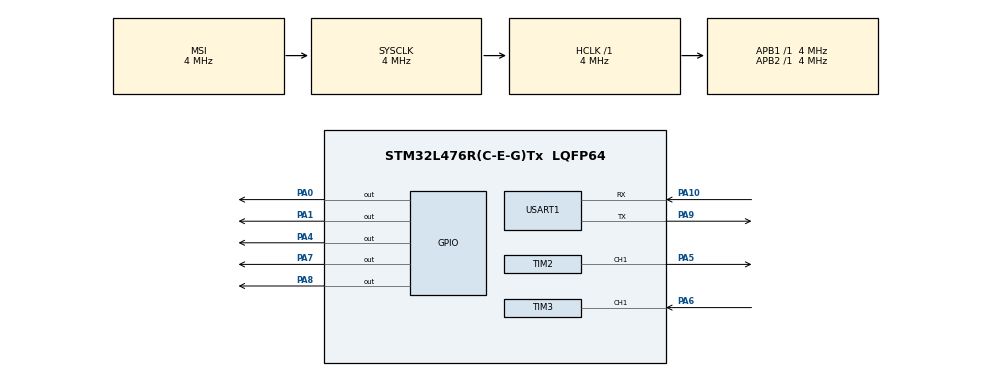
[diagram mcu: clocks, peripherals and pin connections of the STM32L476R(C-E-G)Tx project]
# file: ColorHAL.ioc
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Mcu.Family=STM32L4
Mcu.Name=STM32L476R(C-E-G)Tx
Mcu.Package=LQFP64
NVIC.PriorityGroup=NVIC_PRIORITYGROUP_4
NVIC.TIM2_IRQn=true\:0\:0\:false\:false\:true\:true\:true
PA0.Signal=GPIO_Output
PA1.Signal=GPIO_Output
PA10.Mode=Asynchronous
PA10.Signal=USART1_RX
PA4.Signal=GPIO_Output
PA5.Signal=S_TIM2_CH1
PA6.Signal=S_TIM3_CH1
PA7.Signal=GPIO_Output
PA8.Signal=GPIO_Output
PA9.Mode=Asynchronous
PA9.Signal=USART1_TX
ProjectManager.HeapSize=0x200
ProjectManager.StackSize=0x400
ProjectManager.TargetToolchain=MDK-ARM V5.27
RCC.ADCFreq_Value=64000000
RCC.AHBFreq_Value=4000000
RCC.APB1Freq_Value=4000000
RCC.APB1TimFreq_Value=4000000
RCC.APB2Freq_Value=4000000
RCC.APB2TimFreq_Value=4000000
RCC.CortexFreq_Value=4000000
RCC.HCLKFreq_Value=4000000
RCC.HSE_VALUE=8000000
RCC.HSI_VALUE=16000000
RCC.LSE_VALUE=32768
RCC.MSI_VALUE=4000000
RCC.PLLN=10
RCC.PLLSourceVirtual=RCC_PLLSOURCE_HSI
RCC.PREFETCH_ENABLE=1
RCC.SYSCLKFreq_VALUE=4000000
RCC.USBFreq_Value=64000000
RCC.VCOOutputFreq_Value=160000000
SH.S_TIM2_CH1.0=TIM2_CH1,PWM Generation1 CH1
SH.S_TIM3_CH1.0=TIM3_CH1,TriggerSource_TI1FP1
TIM2.Channel-PWM\ Generation1\ CH1=TIM_CHANNEL_1
TIM2.Period=3999
TIM2.Prescaler=9
TIM3.CounterMode=TIM_COUNTERMODE_UP
TIM3.Period=0xffff
TIM3.Prescaler=0
TIM3.Slave_TriggerPolarity=TIM_TRIGGERPOLARITY_FALLING
TIM3.TIM_MasterOutputTrigger=TIM_TRGO_UPDATE
TIM3.TIM_MasterSlaveMode=TIM_MASTERSLAVEMODE_DISABLE
USART1.VirtualMode-Asynchronous=VM_ASYNC
VP_TIM2_VS_ClockSourceINT.Mode=Internal
VP_TIM3_VS_ControllerModeClock.Mode=Clock Mode
board=NUCLEO-L476RG

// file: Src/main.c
/* USER CODE BEGIN Header */
/**
  ******************************************************************************
  * @file           : main.c
  * @brief          : Main program body
  ******************************************************************************
  * @attention
  *
  * <h2><center>&copy; Copyright (c) 2021 STMicroelectronics.
  * All rights reserved.</center></h2>
  *
  * This software component is licensed by ST under BSD 3-Clause license,
  * the "License"; You may not use this file except in compliance with the
  * License. You may obtain a copy of the License at:
  *                        opensource.org/licenses/BSD-3-Clause
  *
  ******************************************************************************
  */
/* USER CODE END Header */

#include "main.h"

TIM_HandleTypeDef htim2;
TIM_HandleTypeDef htim3;

UART_HandleTypeDef huart1;

void SystemClock_Config(void);
static void MX_GPIO_Init(void);
static void MX_TIM2_Init(void);
static void MX_TIM3_Init(void);
static void MX_USART1_UART_Init(void);

/* USER CODE BEGIN 0 */
short count; //用来判断是第几次
short RGB[3];//用来存放读取回来的数据
short R,G,B; //存放比例系数
short greenFlag = 0;//用来存放绿色识别标志位
short blueFlag = 0; //用来存放蓝色识别标志位
short redFlag = 0;  //用来存放红色识别标志位
short color = 1;    //1-green,2-blue,3-red

void Set_Speed(int speed)
{
	TIM_OC_InitTypeDef sConfigOC = {0};

	sConfigOC.OCMode = TIM_OCMODE_PWM1;
	sConfigOC.Pulse = speed;
	sConfigOC.OCPolarity = TIM_OCPOLARITY_HIGH;
	sConfigOC.OCFastMode = TIM_OCFAST_DISABLE;
	if (HAL_TIM_PWM_ConfigChannel(&htim2, &sConfigOC, TIM_CHANNEL_1) != HAL_OK)
	{
		Error_Handler();
	}
}
void Turn_Forward(void)
{
	HAL_GPIO_WritePin(GPIOA,GPIO_PIN_4, GPIO_PIN_SET);
	Set_Speed(3550); //数值区间1-3999 ，数值越大，速度越慢
	HAL_TIM_PWM_Start(&htim2,TIM_CHANNEL_1);
}
void Turn_Off(void)
{

	Set_Speed(4000);
	HAL_TIM_PWM_Start(&htim2,TIM_CHANNEL_1);
	HAL_GPIO_WritePin(GPIOA,GPIO_PIN_4, GPIO_PIN_SET);

}
/* USER CODE END 0 */

int main(void)
{
  /* USER CODE BEGIN 1 */
  char Step1[]="#0P1000#1P500#2P2010#3P1150#4P1380#5P1500S500T1000\r\n";
	char Step2[]="#0P1000#1P500#2P2010#3P1150#4P1500#5P1500S500T1000\r\n";
	char Step3[]="#0P1000#1P500#2P1590#3P1280#4P1185#5P1500S500T1000\r\n";
	char Step4[]="#0P1430#1P500#2P1590#3P1280#4P1185#5P1500S500T1000\r\n";
	char Step5[]="#0P1430#1P500#2P2010#3P1150#4P1500#5P1500S500T1000\r\n";
	char Step6[]="#0P1430#1P500#2P2010#3P1150#4P1380#5P1500S500T1000\r\n";
	char Step7[]="#0P1000#1P500#2P2010#3P1150#4P1380#5P1500S500T1000\r\n";
  /* USER CODE END 1 */

  /* MCU Configuration--------------------------------------------------------*/

  /* Reset of all peripherals, Initializes the Flash interface and the Systick. */
  HAL_Init();

  /* Configure the system clock */
  SystemClock_Config();

  /* Initialize all configured peripherals */
  MX_GPIO_Init();
  MX_TIM2_Init();
  MX_TIM3_Init();
  MX_USART1_UART_Init();
  /* USER CODE BEGIN 2 */
  //HAL_GPIO_WritePin(GPIOA, GPIO_PIN_5, GPIO_PIN_SET);
  HAL_GPIO_WritePin(GPIOA, GPIO_PIN_0, GPIO_PIN_RESET);
  HAL_GPIO_WritePin(GPIOA, GPIO_PIN_1, GPIO_PIN_RESET);
  HAL_GPIO_WritePin(GPIOA, GPIO_PIN_7, GPIO_PIN_SET);
  HAL_GPIO_WritePin(GPIOA, GPIO_PIN_8, GPIO_PIN_SET);
  __HAL_TIM_CLEAR_IT(&htim2,TIM_IT_UPDATE);
  HAL_TIM_Base_Start_IT(&htim2);
  __HAL_TIM_CLEAR_IT(&htim3,TIM_IT_UPDATE);
  HAL_TIM_Base_Start(&htim3);
  count = 0;
  RGB[0]=0;
  RGB[1]=0;
  RGB[2]=0;
  R=3;
  G=3;
  B=3;
	/*
		red 	93 47 57
		green 56 63 63
		blue	50 55	79
	*/

	HAL_UART_Transmit(&huart1,(uint8_t *)Step1,52,10);
	HAL_Delay(800);

  /* USER CODE END 2 */

  /* Infinite loop */
  /* USER CODE BEGIN WHILE */
  while (1)
  {
		if(color == 1) {
			greenFlag = 0;

			while(greenFlag == 0) {
				Turn_Forward();
				if(RGB[1] > 51 && RGB[2]-RGB[1] < 10 && RGB[1]-RGB[0] < 10) {
					greenFlag = 1;
					Turn_Off();
					HAL_Delay(800);
					HAL_UART_Transmit(&huart1,(uint8_t *)Step1,52,10);
					HAL_Delay(800);
					HAL_UART_Transmit(&huart1,(uint8_t *)Step2,52,10);
					HAL_Delay(800);
					HAL_UART_Transmit(&huart1,(uint8_t *)Step3,52,10);
					HAL_Delay(800);
					HAL_UART_Transmit(&huart1,(uint8_t *)Step4,52,10);
					HAL_Delay(1200);
					HAL_UART_Transmit(&huart1,(uint8_t *)Step5,52,10);
					HAL_Delay(1200);
					HAL_UART_Transmit(&huart1,(uint8_t *)Step6,52,10);
					HAL_Delay(1200);
					HAL_UART_Transmit(&huart1,(uint8_t *)Step7,52,10);
					break;
				}
			}
		} else if(color == 2) {
			blueFlag = 0;
			while(blueFlag == 0) {
				Turn_Forward();
				if(RGB[2] > 65 && RGB[2]-RGB[1] > 10 && RGB[2]-RGB[0] > 10) {
					blueFlag = 1;
					Turn_Off();
					HAL_Delay(800);
					HAL_UART_Transmit(&huart1,(uint8_t *)Step1,52,10);
					HAL_Delay(800);
					HAL_UART_Transmit(&huart1,(uint8_t *)Step2,52,10);
					HAL_Delay(800);
					HAL_UART_Transmit(&huart1,(uint8_t *)Step3,52,10);
					HAL_Delay(800);
					HAL_UART_Transmit(&huart1,(uint8_t *)Step4,52,10);
					HAL_Delay(1200);
					HAL_UART_Transmit(&huart1,(uint8_t *)Step5,52,10);
					HAL_Delay(1200);
					HAL_UART_Transmit(&huart1,(uint8_t *)Step6,52,10);
					HAL_Delay(1200);
					HAL_UART_Transmit(&huart1,(uint8_t *)Step7,52,10);
					break;
				}
			}
		} else if(color == 3) {
			redFlag = 0;
			while(redFlag == 0) {
				Turn_Forward();
				if(RGB[0] > 65 && RGB[0]-RGB[1] > 10 && RGB[0]-RGB[2] > 10) {
					redFlag = 1;
					Turn_Off();
					HAL_Delay(800);
					HAL_UART_Transmit(&huart1,(uint8_t *)Step1,52,10);
					HAL_Delay(800);
					HAL_UART_Transmit(&huart1,(uint8_t *)Step2,52,10);
					HAL_Delay(800);
					HAL_UART_Transmit(&huart1,(uint8_t *)Step3,52,10);
					HAL_Delay(800);
					HAL_UART_Transmit(&huart1,(uint8_t *)Step4,52,10);
					HAL_Delay(1200);
					HAL_UART_Transmit(&huart1,(uint8_t *)Step5,52,10);
					HAL_Delay(1200);
					HAL_UART_Transmit(&huart1,(uint8_t *)Step6,52,10);
					HAL_Delay(1200);
					HAL_UART_Transmit(&huart1,(uint8_t *)Step7,52,10);
					break;
				}
			}
		}

		HAL_Delay(3000);
    /* USER CODE END WHILE */

  }
}

void SystemClock_Config(void)
{
  RCC_OscInitTypeDef RCC_OscInitStruct = {0};
  RCC_ClkInitTypeDef RCC_ClkInitStruct = {0};
  RCC_PeriphCLKInitTypeDef PeriphClkInit = {0};

  /** Initializes the CPU, AHB and APB busses clocks
  */
  RCC_OscInitStruct.OscillatorType = RCC_OSCILLATORTYPE_MSI;
  RCC_OscInitStruct.MSIState = RCC_MSI_ON;
  RCC_OscInitStruct.MSICalibrationValue = 0;
  RCC_OscInitStruct.MSIClockRange = RCC_MSIRANGE_6;
  RCC_OscInitStruct.PLL.PLLState = RCC_PLL_NONE;
  if (HAL_RCC_OscConfig(&RCC_OscInitStruct) != HAL_OK)
  {
    Error_Handler();
  }
  /** Initializes the CPU, AHB and APB busses clocks
  */
  RCC_ClkInitStruct.ClockType = RCC_CLOCKTYPE_HCLK|RCC_CLOCKTYPE_SYSCLK
                              |RCC_CLOCKTYPE_PCLK1|RCC_CLOCKTYPE_PCLK2;
  RCC_ClkInitStruct.SYSCLKSource = RCC_SYSCLKSOURCE_MSI;
  RCC_ClkInitStruct.AHBCLKDivider = RCC_SYSCLK_DIV1;
  RCC_ClkInitStruct.APB1CLKDivider = RCC_HCLK_DIV1;
  RCC_ClkInitStruct.APB2CLKDivider = RCC_HCLK_DIV1;

  if (HAL_RCC_ClockConfig(&RCC_ClkInitStruct, FLASH_LATENCY_0) != HAL_OK)
  {
    Error_Handler();
  }
  PeriphClkInit.PeriphClockSelection = RCC_PERIPHCLK_USART1;
  PeriphClkInit.Usart1ClockSelection = RCC_USART1CLKSOURCE_PCLK2;
  if (HAL_RCCEx_PeriphCLKConfig(&PeriphClkInit) != HAL_OK)
  {
    Error_Handler();
  }
  /** Configure the main internal regulator output voltage
  */
  if (HAL_PWREx_ControlVoltageScaling(PWR_REGULATOR_VOLTAGE_SCALE1) != HAL_OK)
  {
    Error_Handler();
  }
}

static void MX_TIM2_Init(void)
{

  TIM_ClockConfigTypeDef sClockSourceConfig = {0};
  TIM_MasterConfigTypeDef sMasterConfig = {0};
  TIM_OC_InitTypeDef sConfigOC = {0};

  htim2.Instance = TIM2;
  htim2.Init.Prescaler = 9;
  htim2.Init.CounterMode = TIM_COUNTERMODE_UP;
  htim2.Init.Period = 3999;
  htim2.Init.ClockDivision = TIM_CLOCKDIVISION_DIV1;
  htim2.Init.AutoReloadPreload = TIM_AUTORELOAD_PRELOAD_DISABLE;
  if (HAL_TIM_Base_Init(&htim2) != HAL_OK)
  {
    Error_Handler();
  }
  sClockSourceConfig.ClockSource = TIM_CLOCKSOURCE_INTERNAL;
  if (HAL_TIM_ConfigClockSource(&htim2, &sClockSourceConfig) != HAL_OK)
  {
    Error_Handler();
  }
  if (HAL_TIM_PWM_Init(&htim2) != HAL_OK)
  {
    Error_Handler();
  }
  sMasterConfig.MasterOutputTrigger = TIM_TRGO_RESET;
  sMasterConfig.MasterSlaveMode = TIM_MASTERSLAVEMODE_DISABLE;
  if (HAL_TIMEx_MasterConfigSynchronization(&htim2, &sMasterConfig) != HAL_OK)
  {
    Error_Handler();
  }
  sConfigOC.OCMode = TIM_OCMODE_PWM1;
  sConfigOC.Pulse = 0;
  sConfigOC.OCPolarity = TIM_OCPOLARITY_HIGH;
  sConfigOC.OCFastMode = TIM_OCFAST_DISABLE;
  if (HAL_TIM_PWM_ConfigChannel(&htim2, &sConfigOC, TIM_CHANNEL_1) != HAL_OK)
  {
    Error_Handler();
  }
  HAL_TIM_MspPostInit(&htim2);

}

static void MX_TIM3_Init(void)
{

  TIM_SlaveConfigTypeDef sSlaveConfig = {0};
  TIM_MasterConfigTypeDef sMasterConfig = {0};

  htim3.Instance = TIM3;
  htim3.Init.Prescaler = 0;
  htim3.Init.CounterMode = TIM_COUNTERMODE_UP;
  htim3.Init.Period = 0xffff;
  htim3.Init.ClockDivision = TIM_CLOCKDIVISION_DIV1;
  htim3.Init.AutoReloadPreload = TIM_AUTORELOAD_PRELOAD_DISABLE;
  if (HAL_TIM_Base_Init(&htim3) != HAL_OK)
  {
    Error_Handler();
  }
  sSlaveConfig.SlaveMode = TIM_SLAVEMODE_EXTERNAL1;
  sSlaveConfig.InputTrigger = TIM_TS_TI1FP1;
  sSlaveConfig.TriggerPolarity = TIM_TRIGGERPOLARITY_FALLING;
  sSlaveConfig.TriggerFilter = 0;
  if (HAL_TIM_SlaveConfigSynchro(&htim3, &sSlaveConfig) != HAL_OK)
  {
    Error_Handler();
  }
  sMasterConfig.MasterOutputTrigger = TIM_TRGO_UPDATE;
  sMasterConfig.MasterSlaveMode = TIM_MASTERSLAVEMODE_DISABLE;
  if (HAL_TIMEx_MasterConfigSynchronization(&htim3, &sMasterConfig) != HAL_OK)
  {
    Error_Handler();
  }

}

static void MX_USART1_UART_Init(void)
{

  huart1.Instance = USART1;
  huart1.Init.BaudRate = 115200;
  huart1.Init.WordLength = UART_WORDLENGTH_8B;
  huart1.Init.StopBits = UART_STOPBITS_1;
  huart1.Init.Parity = UART_PARITY_NONE;
  huart1.Init.Mode = UART_MODE_TX_RX;
  huart1.Init.HwFlowCtl = UART_HWCONTROL_NONE;
  huart1.Init.OverSampling = UART_OVERSAMPLING_16;
  huart1.Init.OneBitSampling = UART_ONE_BIT_SAMPLE_DISABLE;
  huart1.AdvancedInit.AdvFeatureInit = UART_ADVFEATURE_NO_INIT;
  if (HAL_UART_Init(&huart1) != HAL_OK)
  {
    Error_Handler();
  }

}

static void MX_GPIO_Init(void)
{
  GPIO_InitTypeDef GPIO_InitStruct = {0};

  /* GPIO Ports Clock Enable */
  __HAL_RCC_GPIOA_CLK_ENABLE();

  /*Configure GPIO pin Output Level */
  HAL_GPIO_WritePin(GPIOA, GPIO_PIN_0|GPIO_PIN_1|GPIO_PIN_4|GPIO_PIN_7
                          |GPIO_PIN_8, GPIO_PIN_RESET);

  /*Configure GPIO pins : PA0 PA1 PA4 PA7
                           PA8 */
  GPIO_InitStruct.Pin = GPIO_PIN_0|GPIO_PIN_1|GPIO_PIN_4|GPIO_PIN_7
                          |GPIO_PIN_8;
  GPIO_InitStruct.Mode = GPIO_MODE_OUTPUT_PP;
  GPIO_InitStruct.Pull = GPIO_NOPULL;
  GPIO_InitStruct.Speed = GPIO_SPEED_FREQ_LOW;
  HAL_GPIO_Init(GPIOA, &GPIO_InitStruct);

}

void Error_Handler(void)
{
}

/************************ (C) COPYRIGHT STMicroelectronics *****END OF FILE****/
